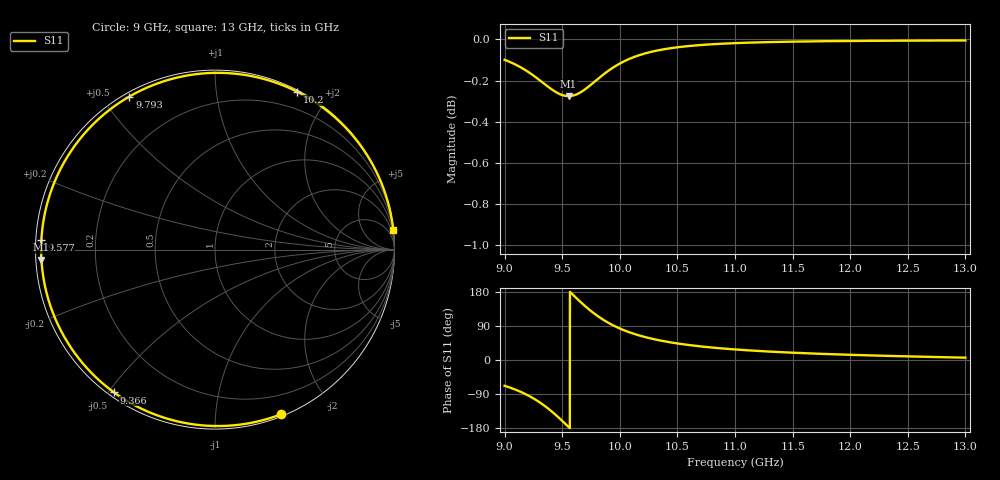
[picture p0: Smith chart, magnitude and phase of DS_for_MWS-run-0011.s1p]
! TOUCHSTONE file generated by CST DESIGN STUDIO
! Date and time: Tue Feb  4 17:32:24 2025
! Project name: C:\Work\MatlabApps\UnitCellOptimizationMatlab\CST\unitcell.cst
! Tree item: Tasks\Sweep1\SPara1\S-Parameters
! Header version: 2024
! Port assignment regex: !\s*Touchstone port\s*([0-9]+)\s*=\s*(CST MWS port|CST DES external port|CST DES block port)\s*(.+)\s* \(\"(.*)\"\)(\s*mode\s*([0-9]+))?.*
! Touchstone port assignment:
! Touchstone port 1 = CST DES external port 1 ("")
# GHz S MA R 50
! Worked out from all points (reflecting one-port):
!   4001 points, 9 GHz to 13 GHz, reference 50 ohm
!   lowest |S11| = -0.3 dB at 9.555 GHz (marker M1), VSWR 62.98, Z = 0.795 - j1.45 ohm
!   phase of S11 starts at -68 deg and turns -286 deg over the sweep
!   S11 on the Smith chart (normalised r, x): 9 GHz: 0.02, -1.48; 9.366 GHz: 0.02, -0.52; 9.577 GHz: 0.02, +0.03; 9.793 GHz: 0.02, +0.59; 10.2 GHz: 0.02, +1.65; 13 GHz: 0, +19
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9  0.9886 -68.0
9.04  0.9876 -72.1
9.106  0.9856 -79.7
9.219  0.9814 -96.0
9.297  0.9778 -110.2
9.366  0.9744 -125.2
9.431  0.9715 -141.5
9.5  0.9693 -160.6
9.555  0.9687 -176.7
9.577  0.9688 176.8
9.632  0.9699 160.7
9.692  0.9721 144.0
9.742  0.9746 131.1
9.793  0.9772 119.2
9.838  0.9796 109.7
9.886  0.9819 100.7
9.939  0.9842 91.9
10  0.9866 83.1
10.094  0.9894 72.0
10.196  0.9917 62.4
10.335  0.9939 52.4
10.5  0.9956 43.7
10.721  0.9969 35.3
11  0.9979 27.9
11.5  0.9987 19.3
12  0.9991 13.7
12.5  0.9993 9.5
13  0.9994 6.2
